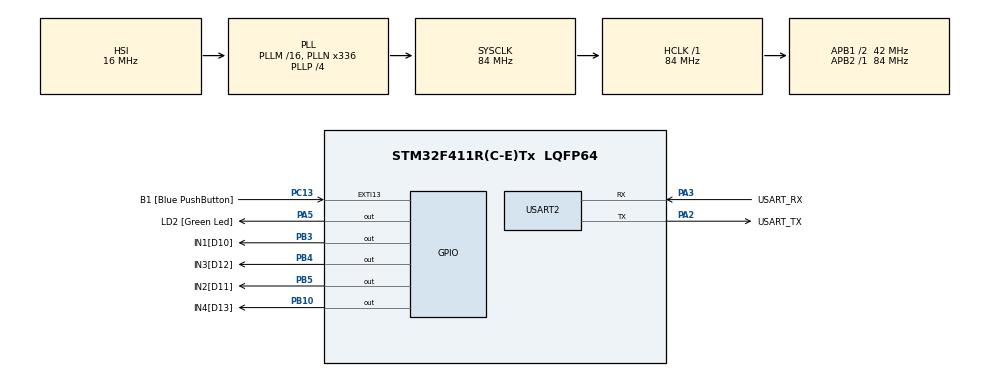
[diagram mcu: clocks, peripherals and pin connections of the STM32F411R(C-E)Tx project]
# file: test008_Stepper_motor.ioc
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Mcu.Family=STM32F4
Mcu.Name=STM32F411R(C-E)Tx
Mcu.Package=LQFP64
NVIC.PriorityGroup=NVIC_PRIORITYGROUP_0
PA13.GPIO_Label=TMS
PA13.Mode=Serial_Wire
PA13.Signal=SYS_JTMS-SWDIO
PA14.GPIO_Label=TCK
PA14.Mode=Serial_Wire
PA14.Signal=SYS_JTCK-SWCLK
PA2.GPIO_Label=USART_TX
PA2.Mode=Asynchronous
PA2.Signal=USART2_TX
PA3.GPIO_Label=USART_RX
PA3.Mode=Asynchronous
PA3.Signal=USART2_RX
PA5.GPIO_Label=LD2 [Green Led]
PA5.Signal=GPIO_Output
PB10.GPIO_Label=IN4[D13]
PB10.Signal=GPIO_Output
PB3.GPIO_Label=IN1[D10]
PB3.Signal=GPIO_Output
PB4.GPIO_Label=IN3[D12]
PB4.Signal=GPIO_Output
PB5.GPIO_Label=IN2[D11]
PB5.Signal=GPIO_Output
PC13-ANTI_TAMP.GPIO_Label=B1 [Blue PushButton]
PC13-ANTI_TAMP.GPIO_ModeDefaultEXTI=GPIO_MODE_IT_FALLING
PC13-ANTI_TAMP.Signal=GPXTI13
PC14-OSC32_IN.Mode=LSE-External-Oscillator
PC14-OSC32_IN.Signal=RCC_OSC32_IN
PC15-OSC32_OUT.Mode=LSE-External-Oscillator
PC15-OSC32_OUT.Signal=RCC_OSC32_OUT
PH0\ -\ OSC_IN.Mode=HSE-External-Clock-Source
PH0\ -\ OSC_IN.Signal=RCC_OSC_IN
PH1\ -\ OSC_OUT.Mode=HSE-External-Clock-Source
PH1\ -\ OSC_OUT.Signal=RCC_OSC_OUT
ProjectManager.HeapSize=0x200
ProjectManager.StackSize=0x400
ProjectManager.TargetToolchain=STM32CubeIDE
RCC.48MHZClocksFreq_Value=84000000
RCC.AHBFreq_Value=84000000
RCC.APB1CLKDivider=RCC_HCLK_DIV2
RCC.APB1Freq_Value=42000000
RCC.APB1TimFreq_Value=84000000
RCC.APB2Freq_Value=84000000
RCC.APB2TimFreq_Value=84000000
RCC.CortexFreq_Value=84000000
RCC.FLatency-AdvancedSettings=FLASH_LATENCY_2
RCC.HCLKFreq_Value=84000000
RCC.HSE_VALUE=8000000
RCC.HSI_VALUE=16000000
RCC.PLLN=336
RCC.PLLP=RCC_PLLP_DIV4
RCC.SYSCLKFreq_VALUE=84000000
RCC.SYSCLKSource=RCC_SYSCLKSOURCE_PLLCLK
RCC.VCOOutputFreq_Value=336000000
USART2.VirtualMode=VM_ASYNC
board=NUCLEO-F411RE

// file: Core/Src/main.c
/* USER CODE BEGIN Header */
/**
  ******************************************************************************
  * @file           : main.c
  * @brief          : Main program body
  ******************************************************************************
  * @attention
  *
  * Copyright (c) 2025 STMicroelectronics.
  * All rights reserved.
  *
  * This software is licensed under terms that can be found in the LICENSE file
  * in the root directory of this software component.
  * If no LICENSE file comes with this software, it is provided AS-IS.
  *
  ******************************************************************************
  */
/* USER CODE END Header */
#include "main.h"

UART_HandleTypeDef huart2;

void SystemClock_Config(void);
static void MX_GPIO_Init(void);
static void MX_USART2_UART_Init(void);

/* USER CODE BEGIN 0 */
int aval, aval_half;
int cnt = 0;
void step_Wave(int step)
{
	switch(step)
	{
	case 0:
		HAL_GPIO_WritePin(IN1_GPIO_Port, IN1_Pin, 1);
		HAL_GPIO_WritePin(IN2_GPIO_Port, IN2_Pin, 0);
		HAL_GPIO_WritePin(IN3_GPIO_Port, IN3_Pin, 0);
		HAL_GPIO_WritePin(IN4_GPIO_Port, IN4_Pin, 0);
		break;
	case 1:
		HAL_GPIO_WritePin(IN1_GPIO_Port, IN1_Pin, 0);
		HAL_GPIO_WritePin(IN2_GPIO_Port, IN2_Pin, 1);
		HAL_GPIO_WritePin(IN3_GPIO_Port, IN3_Pin, 0);
		HAL_GPIO_WritePin(IN4_GPIO_Port, IN4_Pin, 0);
		break;
	case 2:
		HAL_GPIO_WritePin(IN1_GPIO_Port, IN1_Pin, 0);
		HAL_GPIO_WritePin(IN2_GPIO_Port, IN2_Pin, 0);
		HAL_GPIO_WritePin(IN3_GPIO_Port, IN3_Pin, 1);
		HAL_GPIO_WritePin(IN4_GPIO_Port, IN4_Pin, 0);
		break;
	case 3:
		HAL_GPIO_WritePin(IN1_GPIO_Port, IN1_Pin, 0);
		HAL_GPIO_WritePin(IN2_GPIO_Port, IN2_Pin, 0);
		HAL_GPIO_WritePin(IN3_GPIO_Port, IN3_Pin, 0);
		HAL_GPIO_WritePin(IN4_GPIO_Port, IN4_Pin, 1);
		break;

	}
}
void step_Full(int step)
{
	switch(step)
	{
	case 0:
		HAL_GPIO_WritePin(IN1_GPIO_Port, IN1_Pin, 1);
		HAL_GPIO_WritePin(IN2_GPIO_Port, IN2_Pin, 1);
		HAL_GPIO_WritePin(IN3_GPIO_Port, IN3_Pin, 0);
		HAL_GPIO_WritePin(IN4_GPIO_Port, IN4_Pin, 0);
		break;
	case 1:
		HAL_GPIO_WritePin(IN1_GPIO_Port, IN1_Pin, 0);
		HAL_GPIO_WritePin(IN2_GPIO_Port, IN2_Pin, 1);
		HAL_GPIO_WritePin(IN3_GPIO_Port, IN3_Pin, 1);
		HAL_GPIO_WritePin(IN4_GPIO_Port, IN4_Pin, 0);
		break;
	case 2:
		HAL_GPIO_WritePin(IN1_GPIO_Port, IN1_Pin, 0);
		HAL_GPIO_WritePin(IN2_GPIO_Port, IN2_Pin, 0);
		HAL_GPIO_WritePin(IN3_GPIO_Port, IN3_Pin, 1);
		HAL_GPIO_WritePin(IN4_GPIO_Port, IN4_Pin, 1);
		break;
	case 3:
		HAL_GPIO_WritePin(IN1_GPIO_Port, IN1_Pin, 1);
		HAL_GPIO_WritePin(IN2_GPIO_Port, IN2_Pin, 0);
		HAL_GPIO_WritePin(IN3_GPIO_Port, IN3_Pin, 0);
		HAL_GPIO_WritePin(IN4_GPIO_Port, IN4_Pin, 1);
		break;

	}
}
void step_Half(int step)
{
	switch(step)
	{
	case 0:
		HAL_GPIO_WritePin(IN1_GPIO_Port, IN1_Pin, 1);
		HAL_GPIO_WritePin(IN2_GPIO_Port, IN2_Pin, 0);
		HAL_GPIO_WritePin(IN3_GPIO_Port, IN3_Pin, 0);
		HAL_GPIO_WritePin(IN4_GPIO_Port, IN4_Pin, 0);
		break;
	case 1:
		HAL_GPIO_WritePin(IN1_GPIO_Port, IN1_Pin, 1);
		HAL_GPIO_WritePin(IN2_GPIO_Port, IN2_Pin, 1);
		HAL_GPIO_WritePin(IN3_GPIO_Port, IN3_Pin, 0);
		HAL_GPIO_WritePin(IN4_GPIO_Port, IN4_Pin, 0);
		break;
	case 2:
		HAL_GPIO_WritePin(IN1_GPIO_Port, IN1_Pin, 0);
		HAL_GPIO_WritePin(IN2_GPIO_Port, IN2_Pin, 1);
		HAL_GPIO_WritePin(IN3_GPIO_Port, IN3_Pin, 0);
		HAL_GPIO_WritePin(IN4_GPIO_Port, IN4_Pin, 0);
		break;
	case 3:
		HAL_GPIO_WritePin(IN1_GPIO_Port, IN1_Pin, 0);
		HAL_GPIO_WritePin(IN2_GPIO_Port, IN2_Pin, 1);
		HAL_GPIO_WritePin(IN3_GPIO_Port, IN3_Pin, 1);
		HAL_GPIO_WritePin(IN4_GPIO_Port, IN4_Pin, 0);
		break;
	case 4:
		HAL_GPIO_WritePin(IN1_GPIO_Port, IN1_Pin, 0);
		HAL_GPIO_WritePin(IN2_GPIO_Port, IN2_Pin, 0);
		HAL_GPIO_WritePin(IN3_GPIO_Port, IN3_Pin, 1);
		HAL_GPIO_WritePin(IN4_GPIO_Port, IN4_Pin, 0);
		break;
	case 5:
		HAL_GPIO_WritePin(IN1_GPIO_Port, IN1_Pin, 0);
		HAL_GPIO_WritePin(IN2_GPIO_Port, IN2_Pin, 0);
		HAL_GPIO_WritePin(IN3_GPIO_Port, IN3_Pin, 1);
		HAL_GPIO_WritePin(IN4_GPIO_Port, IN4_Pin, 1);
		break;
	case 6:
		HAL_GPIO_WritePin(IN1_GPIO_Port, IN1_Pin, 0);
		HAL_GPIO_WritePin(IN2_GPIO_Port, IN2_Pin, 0);
		HAL_GPIO_WritePin(IN3_GPIO_Port, IN3_Pin, 0);
		HAL_GPIO_WritePin(IN4_GPIO_Port, IN4_Pin, 1);
		break;
	case 7:
		HAL_GPIO_WritePin(IN1_GPIO_Port, IN1_Pin, 1);
		HAL_GPIO_WritePin(IN2_GPIO_Port, IN2_Pin, 0);
		HAL_GPIO_WritePin(IN3_GPIO_Port, IN3_Pin, 0);
		HAL_GPIO_WritePin(IN4_GPIO_Port, IN4_Pin, 1);
		break;

	}
}
/* USER CODE END 0 */

int main(void)
{

  /* MCU Configuration--------------------------------------------------------*/

  /* Reset of all peripherals, Initializes the Flash interface and the Systick. */
  HAL_Init();

  /* Configure the system clock */
  SystemClock_Config();

  /* Initialize all configured peripherals */
  MX_GPIO_Init();
  MX_USART2_UART_Init();
  /* USER CODE BEGIN 2 */
  ProgramStart("Step motor control");

  /* USER CODE END 2 */

  /* Infinite loop */
  /* USER CODE BEGIN WHILE */
  while (1)
  {
	  printf("Angle Input : ");
	  cnt = 0;
	  scanf("%d", &aval);
	  printf("Angle : %d\r\n", aval);
	  aval_half = aval * 4096 / 360;
	  aval = aval * 2048 / 360;

//	  while (cnt < aval){	//wave mode
//		  step_Wave(cnt % 4); HAL_Delay(2);
//		  cnt++;
//	  }
//	  while (cnt < aval){	//full mode
//		  step_Full(cnt % 4); HAL_Delay(2);
//		  cnt++;
//	  }
	  while (cnt < aval_half){	//half mode
		  step_Full(cnt % 8); HAL_Delay(2);
		  cnt++;
	  }

    /* USER CODE END WHILE */

  }
}

void SystemClock_Config(void)
{
  RCC_OscInitTypeDef RCC_OscInitStruct = {0};
  RCC_ClkInitTypeDef RCC_ClkInitStruct = {0};

  /** Configure the main internal regulator output voltage
  */
  __HAL_RCC_PWR_CLK_ENABLE();
  __HAL_PWR_VOLTAGESCALING_CONFIG(PWR_REGULATOR_VOLTAGE_SCALE1);

  /** Initializes the RCC Oscillators according to the specified parameters
  * in the RCC_OscInitTypeDef structure.
  */
  RCC_OscInitStruct.OscillatorType = RCC_OSCILLATORTYPE_HSI;
  RCC_OscInitStruct.HSIState = RCC_HSI_ON;
  RCC_OscInitStruct.HSICalibrationValue = RCC_HSICALIBRATION_DEFAULT;
  RCC_OscInitStruct.PLL.PLLState = RCC_PLL_ON;
  RCC_OscInitStruct.PLL.PLLSource = RCC_PLLSOURCE_HSI;
  RCC_OscInitStruct.PLL.PLLM = 16;
  RCC_OscInitStruct.PLL.PLLN = 336;
  RCC_OscInitStruct.PLL.PLLP = RCC_PLLP_DIV4;
  RCC_OscInitStruct.PLL.PLLQ = 4;
  if (HAL_RCC_OscConfig(&RCC_OscInitStruct) != HAL_OK)
  {
    Error_Handler();
  }

  /** Initializes the CPU, AHB and APB buses clocks
  */
  RCC_ClkInitStruct.ClockType = RCC_CLOCKTYPE_HCLK|RCC_CLOCKTYPE_SYSCLK
                              |RCC_CLOCKTYPE_PCLK1|RCC_CLOCKTYPE_PCLK2;
  RCC_ClkInitStruct.SYSCLKSource = RCC_SYSCLKSOURCE_PLLCLK;
  RCC_ClkInitStruct.AHBCLKDivider = RCC_SYSCLK_DIV1;
  RCC_ClkInitStruct.APB1CLKDivider = RCC_HCLK_DIV2;
  RCC_ClkInitStruct.APB2CLKDivider = RCC_HCLK_DIV1;

  if (HAL_RCC_ClockConfig(&RCC_ClkInitStruct, FLASH_LATENCY_2) != HAL_OK)
  {
    Error_Handler();
  }
}

static void MX_USART2_UART_Init(void)
{

  huart2.Instance = USART2;
  huart2.Init.BaudRate = 115200;
  huart2.Init.WordLength = UART_WORDLENGTH_8B;
  huart2.Init.StopBits = UART_STOPBITS_1;
  huart2.Init.Parity = UART_PARITY_NONE;
  huart2.Init.Mode = UART_MODE_TX_RX;
  huart2.Init.HwFlowCtl = UART_HWCONTROL_NONE;
  huart2.Init.OverSampling = UART_OVERSAMPLING_16;
  if (HAL_UART_Init(&huart2) != HAL_OK)
  {
    Error_Handler();
  }

}

static void MX_GPIO_Init(void)
{
  GPIO_InitTypeDef GPIO_InitStruct = {0};

  /* GPIO Ports Clock Enable */
  __HAL_RCC_GPIOC_CLK_ENABLE();
  __HAL_RCC_GPIOH_CLK_ENABLE();
  __HAL_RCC_GPIOA_CLK_ENABLE();
  __HAL_RCC_GPIOB_CLK_ENABLE();

  /*Configure GPIO pin Output Level */
  HAL_GPIO_WritePin(LD2_GPIO_Port, LD2_Pin, GPIO_PIN_RESET);

  /*Configure GPIO pin Output Level */
  HAL_GPIO_WritePin(GPIOB, IN4_Pin|IN1_Pin|IN3_Pin|IN2_Pin, GPIO_PIN_RESET);

  /*Configure GPIO pin : B1_Pin */
  GPIO_InitStruct.Pin = B1_Pin;
  GPIO_InitStruct.Mode = GPIO_MODE_IT_FALLING;
  GPIO_InitStruct.Pull = GPIO_NOPULL;
  HAL_GPIO_Init(B1_GPIO_Port, &GPIO_InitStruct);

  /*Configure GPIO pin : LD2_Pin */
  GPIO_InitStruct.Pin = LD2_Pin;
  GPIO_InitStruct.Mode = GPIO_MODE_OUTPUT_PP;
  GPIO_InitStruct.Pull = GPIO_NOPULL;
  GPIO_InitStruct.Speed = GPIO_SPEED_FREQ_LOW;
  HAL_GPIO_Init(LD2_GPIO_Port, &GPIO_InitStruct);

  /*Configure GPIO pins : IN4_Pin IN1_Pin IN3_Pin IN2_Pin */
  GPIO_InitStruct.Pin = IN4_Pin|IN1_Pin|IN3_Pin|IN2_Pin;
  GPIO_InitStruct.Mode = GPIO_MODE_OUTPUT_PP;
  GPIO_InitStruct.Pull = GPIO_NOPULL;
  GPIO_InitStruct.Speed = GPIO_SPEED_FREQ_LOW;
  HAL_GPIO_Init(GPIOB, &GPIO_InitStruct);

}

void Error_Handler(void)
{
  __disable_irq();
  while (1)
  {
  }
}
